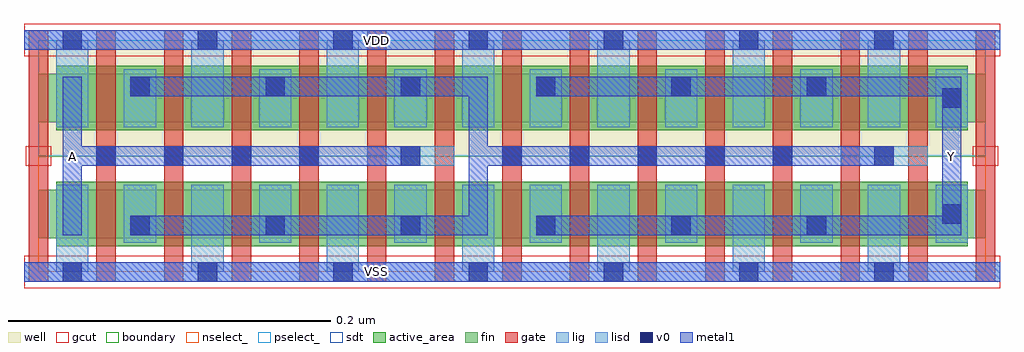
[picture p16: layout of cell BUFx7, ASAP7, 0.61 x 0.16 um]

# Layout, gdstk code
import gdstk
lib = gdstk.Library(unit=1e-6, precision=2.5e-10)
def R(c, l, rs):  # rectangles x0, y0, x1, y1
    for r in rs: c.add(gdstk.rectangle(r[:2], r[2:], *l))
def A(c, l, x, y, w, h, nx, ny, dx, dy):  # array of equal rectangles
    R(c, l, [(x+i*dx, y+j*dy, x+i*dx+w, y+j*dy+h) for i in range(nx) for j in range(ny)])
def P(c, l, *ps):  # polygons
    for p in ps: c.add(gdstk.Polygon(p, *l))
well = (1, 0)
fin = (2, 0)
gate = (7, 0)
gcut = (10, 0)
active_area = (11, 0)
nselect_ = (12, 0)
pselect_ = (13, 0)
lig = (16, 0)
lisd = (17, 0)
v0 = (18, 0)
metal1 = (19, 0)
sdt = (88, 0)
boundary = (100, 0)

bufx7 = lib.new_cell('BUFx7')
R(bufx7, well, [(0,0.072,0.588,0.144)])
R(bufx7, fin, [(0,0.021,0.588,0.051), (0,0.093,0.588,0.123)])
A(bufx7, gate, -0.006, -0.006, 0.012, 0.156, 15, 1, 0.042, 0)
R(bufx7, gcut, [(-0.009,-0.01,0.597,0.01), (-0.008,0.066,0.008,0.078), (0.58,0.066,0.596,0.078), (-0.009,0.134,0.597,0.154)])
R(bufx7, active_area, [(0.011,0.016,0.577,0.056), (0.011,0.088,0.577,0.128)])
R(bufx7, nselect_, [(0,0,0.588,0.072)])
R(bufx7, pselect_, [(0,0.072,0.588,0.144)])
A(bufx7, lig, 0.036, 0.066, 0.012, 0.012, 4, 1, 0.042, 0)
A(bufx7, lig, 0.288, 0.066, 0.012, 0.012, 5, 1, 0.042, 0)
R(bufx7, lig, [(-0.009,-0.006,0.597,0.006), (0.204,0.066,0.258,0.078), (0.498,0.066,0.552,0.078), (-0.009,0.138,0.597,0.15)])
A(bufx7, lisd, 0.011, 0, 0.02, 0.054, 7, 2, 0.084, 0.09)
A(bufx7, lisd, 0.053, 0.018, 0.02, 0.036, 7, 2, 0.084, 0.072)
A(bufx7, v0, 0.015, -0.006, 0.012, 0.012, 7, 2, 0.084, 0.144)
A(bufx7, v0, 0.057, 0.0227, 0.012, 0.012, 6, 2, 0.084, 0.0865)
A(bufx7, v0, 0.036, 0.066, 0.012, 0.012, 4, 1, 0.042, 0)
A(bufx7, v0, 0.288, 0.066, 0.012, 0.012, 5, 1, 0.042, 0)
R(bufx7, v0, [(0.561,0.03,0.573,0.042), (0.225,0.066,0.237,0.078), (0.519,0.066,0.531,0.078), (0.561,0.102,0.573,0.114)])
R(bufx7, metal1, [(-0.009,-0.006,0.597,0.006), (-0.009,0.138,0.597,0.15)])
P(bufx7, metal1, [(0.309,0.0348),(0.309,0.0227),(0.573,0.0227),(0.573,0.1212),(0.309,0.1212),(0.309,0.1092),(0.561,0.1092),(0.561,0.0348)],
  [(0.057,0.1092),(0.267,0.1092),(0.267,0.0348),(0.057,0.0348),(0.057,0.0227),(0.279,0.0227),(0.279,0.066),(0.531,0.066),(0.531,0.078),(0.279,0.078),(0.279,0.1212),(0.057,0.1212)],
  [(0.015,0.0227),(0.027,0.0227),(0.027,0.066),(0.237,0.066),(0.237,0.078),(0.027,0.078),(0.027,0.1212),(0.015,0.1212)])
A(bufx7, sdt, 0.011, 0.021, 0.02, 0.03, 14, 2, 0.042, 0.072)
R(bufx7, boundary, [(0,0,0.588,0.144)])
bufx7.add(gdstk.Label('Y', (0.567,0.072), layer=19, texttype=251))
bufx7.add(gdstk.Label('A', (0.021,0.072), layer=19, texttype=251))
bufx7.add(gdstk.Label('VSS', (0.21,0), layer=19, texttype=251))
bufx7.add(gdstk.Label('VDD', (0.21,0.144), layer=19, texttype=251))

lib.write_gds('BUFx7.gds')
